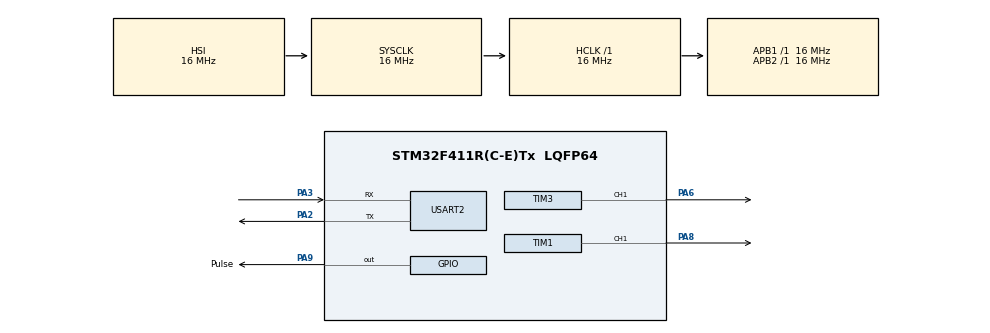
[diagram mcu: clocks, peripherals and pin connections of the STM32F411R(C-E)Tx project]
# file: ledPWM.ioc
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Mcu.Family=STM32F4
Mcu.Name=STM32F411R(C-E)Tx
Mcu.Package=LQFP64
NVIC.PriorityGroup=NVIC_PRIORITYGROUP_4
NVIC.USART2_IRQn=true\:0\:0\:false\:false\:true\:true\:true\:true
PA2.Mode=Asynchronous
PA2.Signal=USART2_TX
PA3.Mode=Asynchronous
PA3.Signal=USART2_RX
PA6.Signal=S_TIM3_CH1
PA8.Signal=S_TIM1_CH1
PA9.GPIO_Label=Pulse
PA9.Signal=GPIO_Output
PA9.Stacked=true
ProjectManager.HeapSize=0x200
ProjectManager.StackSize=0x400
ProjectManager.TargetToolchain=STM32CubeIDE
RCC.AHBFreq_Value=16000000
RCC.APB1Freq_Value=16000000
RCC.APB2Freq_Value=16000000
RCC.CortexFreq_Value=16000000
RCC.HSE_VALUE=25000000
RCC.HSI_VALUE=16000000
RCC.LSE_VALUE=32768
RCC.SYSCLKFreq_VALUE=16000000
RCC.VCOOutputFreq_Value=192000000
SH.S_TIM1_CH1.0=TIM1_CH1,PWM Generation1 CH1
SH.S_TIM3_CH1.0=TIM3_CH1,PWM Generation1 CH1
TIM1.Channel-PWM\ Generation1\ CH1=TIM_CHANNEL_1
TIM1.Period=1000-1
TIM1.Prescaler=16-1
TIM1.Pulse-PWM\ Generation1\ CH1=500-1
TIM3.Channel-PWM\ Generation1\ CH1=TIM_CHANNEL_1
TIM3.Period=1000-1
TIM3.Prescaler=16-1
TIM3.Pulse-PWM\ Generation1\ CH1=500-1
USART2.VirtualMode=VM_ASYNC
VP_TIM1_VS_ClockSourceINT.Mode=Internal
VP_TIM3_VS_ClockSourceINT.Mode=Internal
board=custom

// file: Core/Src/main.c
/* USER CODE BEGIN Header */
/**
 ******************************************************************************
 * @file           : main.c
 * @brief          : Main program body
 ******************************************************************************
 * @attention
 *
 * Copyright (c) 2024 STMicroelectronics.
 * All rights reserved.
 *
 * This software is licensed under terms that can be found in the LICENSE file
 * in the root directory of this software component.
 * If no LICENSE file comes with this software, it is provided AS-IS.
 *
 ******************************************************************************
 */
/* USER CODE END Header */
#include "main.h"

/* USER CODE BEGIN Includes */
#include <math.h>
#include "uart.h"
/* USER CODE END Includes */

TIM_HandleTypeDef htim1;
TIM_HandleTypeDef htim3;

UART_HandleTypeDef huart2;

void SystemClock_Config(void);
static void MX_GPIO_Init(void);
static void MX_TIM1_Init(void);
static void MX_TIM3_Init(void);
static void MX_USART2_UART_Init(void);

/* USER CODE BEGIN 0 */
int soundLUT[] = { 130, 146, 164, 174, 196, 220, 246, 261 };

int countSinLed = 0;
int countPulseLed = 0;
int countSound = 0;

void SysTickCallback() {
	if (countSinLed > 0)
		countSinLed--;
	if (countPulseLed > 0)
		countPulseLed--;
	if (countSound > 0)
		countSound--;
}

void setSound(int freq) {
	htim3.Instance->ARR = 1000000 / freq - 1;
	htim3.Instance->CCR1 = htim3.Instance->ARR / 2;
}

void stopSound() {
	htim3.Instance->CCR1 = 0;
}
/* USER CODE END 0 */

int main(void) {

	/* MCU Configuration--------------------------------------------------------*/

	/* Reset of all peripherals, Initializes the Flash interface and the Systick. */
	HAL_Init();

	/* Configure the system clock */
	SystemClock_Config();

	/* Initialize all configured peripherals */
	MX_GPIO_Init();
	MX_TIM1_Init();
	MX_TIM3_Init();
	MX_USART2_UART_Init();
	/* USER CODE BEGIN 2 */
	initUART(&huart2);
	HAL_TIM_PWM_Start(&htim1, TIM_CHANNEL_1);
	HAL_TIM_PWM_Start(&htim3, TIM_CHANNEL_1);
	/* USER CODE END 2 */

	/* Infinite loop */
	/* USER CODE BEGIN WHILE */
	while (1) {
		if (countSinLed == 0) {
			countSinLed = 5;
			static int angle = 0;
			angle++;
			angle %= 360;
			int value = sin(angle * 3.14 / 180) * 499 + 499;
			htim1.Instance->CCR1 = value;
		}
		if (countPulseLed == 0) {
			countPulseLed = 125;
			HAL_GPIO_TogglePin(Pulse_GPIO_Port, Pulse_Pin);
		}
		if (countSound == 0) {
			countSound = 200;

			// uint8_t sound[8] = { 130, 146, 164, 174, 196, 220, 246, 261 };
			// uint8_t sound[8] = { 523, 587, 659, 698, 783, 880, 987, 1046 };
			// uint8_t sound[8] = {1046, 1174, 1318, 1396, 1567, 1760, 1975, 2093};
			/*static int freq = 0;
			 setSound(soundLUT[freq]);
			 freq++;
			 freq %= 7;*/

			stopSound();
			char ch = getChar();
			switch (ch) {
			case 'c':
				setSound(soundLUT[0]);
				break;
			case 'd':
				setSound(soundLUT[1]);
				break;
			case 'e':
				setSound(soundLUT[2]);
				break;
			case 'f':
				setSound(soundLUT[3]);
				break;
			case 'g':
				setSound(soundLUT[4]);
				break;
			case 'a':
				setSound(soundLUT[5]);
				break;
			case 'b':
				setSound(soundLUT[6]);
				break;
			case 'C':
				setSound(soundLUT[7]);
				break;

			}

		}

		/*//
		 for (int i=0; i<10; i++){
		 htim1.Instance->CCR1 = 1<i;
		 HAL_Delay(100);
		 }
		 for (int i=0; i<10; i++){
		 htim1.Instance->CCR1 = 1<<(10-i);
		 HAL_Delay(100);
		 }*/

		/* USER CODE END WHILE */

	}
}

void SystemClock_Config(void) {
	RCC_OscInitTypeDef RCC_OscInitStruct = { 0 };
	RCC_ClkInitTypeDef RCC_ClkInitStruct = { 0 };

	/** Configure the main internal regulator output voltage
	 */
	__HAL_RCC_PWR_CLK_ENABLE();
	__HAL_PWR_VOLTAGESCALING_CONFIG(PWR_REGULATOR_VOLTAGE_SCALE1);

	/** Initializes the RCC Oscillators according to the specified parameters
	 * in the RCC_OscInitTypeDef structure.
	 */
	RCC_OscInitStruct.OscillatorType = RCC_OSCILLATORTYPE_HSI;
	RCC_OscInitStruct.HSIState = RCC_HSI_ON;
	RCC_OscInitStruct.HSICalibrationValue = RCC_HSICALIBRATION_DEFAULT;
	RCC_OscInitStruct.PLL.PLLState = RCC_PLL_NONE;
	if (HAL_RCC_OscConfig(&RCC_OscInitStruct) != HAL_OK) {
		Error_Handler();
	}

	/** Initializes the CPU, AHB and APB buses clocks
	 */
	RCC_ClkInitStruct.ClockType = RCC_CLOCKTYPE_HCLK | RCC_CLOCKTYPE_SYSCLK
			| RCC_CLOCKTYPE_PCLK1 | RCC_CLOCKTYPE_PCLK2;
	RCC_ClkInitStruct.SYSCLKSource = RCC_SYSCLKSOURCE_HSI;
	RCC_ClkInitStruct.AHBCLKDivider = RCC_SYSCLK_DIV1;
	RCC_ClkInitStruct.APB1CLKDivider = RCC_HCLK_DIV1;
	RCC_ClkInitStruct.APB2CLKDivider = RCC_HCLK_DIV1;

	if (HAL_RCC_ClockConfig(&RCC_ClkInitStruct, FLASH_LATENCY_0) != HAL_OK) {
		Error_Handler();
	}
}

static void MX_TIM1_Init(void) {

	TIM_ClockConfigTypeDef sClockSourceConfig = { 0 };
	TIM_MasterConfigTypeDef sMasterConfig = { 0 };
	TIM_OC_InitTypeDef sConfigOC = { 0 };
	TIM_BreakDeadTimeConfigTypeDef sBreakDeadTimeConfig = { 0 };

	htim1.Instance = TIM1;
	htim1.Init.Prescaler = 16 - 1;
	htim1.Init.CounterMode = TIM_COUNTERMODE_UP;
	htim1.Init.Period = 1000 - 1;
	htim1.Init.ClockDivision = TIM_CLOCKDIVISION_DIV1;
	htim1.Init.RepetitionCounter = 0;
	htim1.Init.AutoReloadPreload = TIM_AUTORELOAD_PRELOAD_DISABLE;
	if (HAL_TIM_Base_Init(&htim1) != HAL_OK) {
		Error_Handler();
	}
	sClockSourceConfig.ClockSource = TIM_CLOCKSOURCE_INTERNAL;
	if (HAL_TIM_ConfigClockSource(&htim1, &sClockSourceConfig) != HAL_OK) {
		Error_Handler();
	}
	if (HAL_TIM_PWM_Init(&htim1) != HAL_OK) {
		Error_Handler();
	}
	sMasterConfig.MasterOutputTrigger = TIM_TRGO_RESET;
	sMasterConfig.MasterSlaveMode = TIM_MASTERSLAVEMODE_DISABLE;
	if (HAL_TIMEx_MasterConfigSynchronization(&htim1, &sMasterConfig)
			!= HAL_OK) {
		Error_Handler();
	}
	sConfigOC.OCMode = TIM_OCMODE_PWM1;
	sConfigOC.Pulse = 500 - 1;
	sConfigOC.OCPolarity = TIM_OCPOLARITY_HIGH;
	sConfigOC.OCNPolarity = TIM_OCNPOLARITY_HIGH;
	sConfigOC.OCFastMode = TIM_OCFAST_DISABLE;
	sConfigOC.OCIdleState = TIM_OCIDLESTATE_RESET;
	sConfigOC.OCNIdleState = TIM_OCNIDLESTATE_RESET;
	if (HAL_TIM_PWM_ConfigChannel(&htim1, &sConfigOC, TIM_CHANNEL_1)
			!= HAL_OK) {
		Error_Handler();
	}
	sBreakDeadTimeConfig.OffStateRunMode = TIM_OSSR_DISABLE;
	sBreakDeadTimeConfig.OffStateIDLEMode = TIM_OSSI_DISABLE;
	sBreakDeadTimeConfig.LockLevel = TIM_LOCKLEVEL_OFF;
	sBreakDeadTimeConfig.DeadTime = 0;
	sBreakDeadTimeConfig.BreakState = TIM_BREAK_DISABLE;
	sBreakDeadTimeConfig.BreakPolarity = TIM_BREAKPOLARITY_HIGH;
	sBreakDeadTimeConfig.AutomaticOutput = TIM_AUTOMATICOUTPUT_DISABLE;
	if (HAL_TIMEx_ConfigBreakDeadTime(&htim1, &sBreakDeadTimeConfig)
			!= HAL_OK) {
		Error_Handler();
	}
	HAL_TIM_MspPostInit(&htim1);

}

static void MX_TIM3_Init(void) {

	TIM_ClockConfigTypeDef sClockSourceConfig = { 0 };
	TIM_MasterConfigTypeDef sMasterConfig = { 0 };
	TIM_OC_InitTypeDef sConfigOC = { 0 };

	htim3.Instance = TIM3;
	htim3.Init.Prescaler = 16 - 1;
	htim3.Init.CounterMode = TIM_COUNTERMODE_UP;
	htim3.Init.Period = 1000 - 1;
	htim3.Init.ClockDivision = TIM_CLOCKDIVISION_DIV1;
	htim3.Init.AutoReloadPreload = TIM_AUTORELOAD_PRELOAD_DISABLE;
	if (HAL_TIM_Base_Init(&htim3) != HAL_OK) {
		Error_Handler();
	}
	sClockSourceConfig.ClockSource = TIM_CLOCKSOURCE_INTERNAL;
	if (HAL_TIM_ConfigClockSource(&htim3, &sClockSourceConfig) != HAL_OK) {
		Error_Handler();
	}
	if (HAL_TIM_PWM_Init(&htim3) != HAL_OK) {
		Error_Handler();
	}
	sMasterConfig.MasterOutputTrigger = TIM_TRGO_RESET;
	sMasterConfig.MasterSlaveMode = TIM_MASTERSLAVEMODE_DISABLE;
	if (HAL_TIMEx_MasterConfigSynchronization(&htim3, &sMasterConfig)
			!= HAL_OK) {
		Error_Handler();
	}
	sConfigOC.OCMode = TIM_OCMODE_PWM1;
	sConfigOC.Pulse = 500 - 1;
	sConfigOC.OCPolarity = TIM_OCPOLARITY_HIGH;
	sConfigOC.OCFastMode = TIM_OCFAST_DISABLE;
	if (HAL_TIM_PWM_ConfigChannel(&htim3, &sConfigOC, TIM_CHANNEL_1)
			!= HAL_OK) {
		Error_Handler();
	}
	HAL_TIM_MspPostInit(&htim3);

}

static void MX_USART2_UART_Init(void) {

	huart2.Instance = USART2;
	huart2.Init.BaudRate = 115200;
	huart2.Init.WordLength = UART_WORDLENGTH_8B;
	huart2.Init.StopBits = UART_STOPBITS_1;
	huart2.Init.Parity = UART_PARITY_NONE;
	huart2.Init.Mode = UART_MODE_TX_RX;
	huart2.Init.HwFlowCtl = UART_HWCONTROL_NONE;
	huart2.Init.OverSampling = UART_OVERSAMPLING_16;
	if (HAL_UART_Init(&huart2) != HAL_OK) {
		Error_Handler();
	}

}

static void MX_GPIO_Init(void) {
	GPIO_InitTypeDef GPIO_InitStruct = { 0 };

	/* GPIO Ports Clock Enable */
	__HAL_RCC_GPIOA_CLK_ENABLE();

	/*Configure GPIO pin Output Level */
	HAL_GPIO_WritePin(Pulse_GPIO_Port, Pulse_Pin, GPIO_PIN_RESET);

	/*Configure GPIO pin : Pulse_Pin */
	GPIO_InitStruct.Pin = Pulse_Pin;
	GPIO_InitStruct.Mode = GPIO_MODE_OUTPUT_PP;
	GPIO_InitStruct.Pull = GPIO_NOPULL;
	GPIO_InitStruct.Speed = GPIO_SPEED_FREQ_LOW;
	HAL_GPIO_Init(Pulse_GPIO_Port, &GPIO_InitStruct);

}

void Error_Handler(void) {
	__disable_irq();
	while (1) {
	}
}
